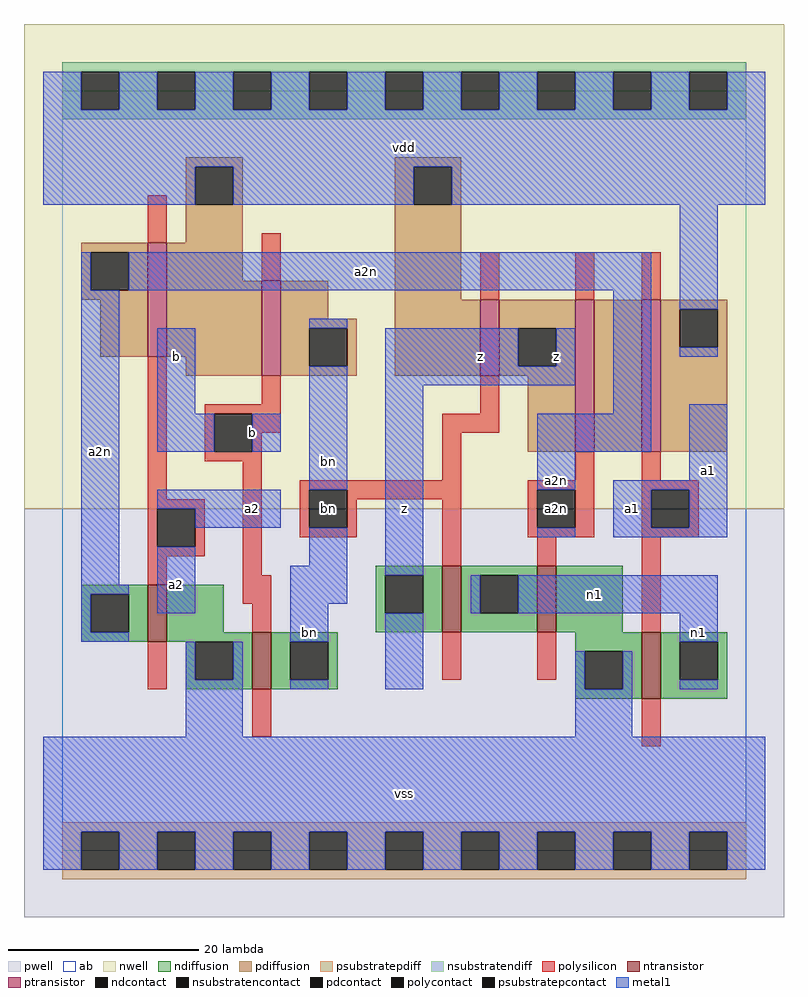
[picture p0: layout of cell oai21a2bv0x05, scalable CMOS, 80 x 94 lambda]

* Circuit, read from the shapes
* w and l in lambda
.subckt oai21a2bv0x05 a1 a2 a2n b bn n1 vdd vss z
M1 vss a2 a2n vss nfet w=6 l=2
M2 bn b vss vss nfet w=6 l=2
M3 n1 bn z vss nfet w=7 l=2
M4 vss a2n n1 vss nfet w=7 l=2
M5 n1 a1 vss vss nfet w=7 l=2
M6 vdd a2 a2n vdd pfet w=12 l=2
M7 bn b vdd vdd pfet w=10 l=2
M8 z bn vdd vdd pfet w=8 l=2
M9 n2 a2n z vdd pfet w=16 l=2
M10 vdd a1 n2 vdd pfet w=16 l=2
.ends

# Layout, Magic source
magic
tech scmos
<< ab >>
rect 0 0 72 80
<< pwell >>
rect -4 -7 76 36
<< nwell >>
rect -4 36 76 87
<< polysilicon >>
rect 9 64 11 69
rect 21 60 23 65
rect 9 37 11 52
rect 44 58 46 63
rect 54 58 56 63
rect 61 58 63 63
rect 21 47 23 50
rect 15 46 23 47
rect 44 46 46 50
rect 15 42 16 46
rect 20 44 23 46
rect 40 44 46 46
rect 20 42 21 44
rect 15 41 21 42
rect 9 36 15 37
rect 9 32 10 36
rect 14 32 15 36
rect 9 31 15 32
rect 9 28 11 31
rect 19 29 21 41
rect 40 39 42 44
rect 54 39 56 42
rect 25 38 42 39
rect 25 34 26 38
rect 30 37 42 38
rect 30 34 31 37
rect 25 33 31 34
rect 40 30 42 37
rect 49 38 56 39
rect 49 34 50 38
rect 54 34 56 38
rect 49 33 56 34
rect 61 39 63 42
rect 61 38 67 39
rect 61 34 62 38
rect 66 34 67 38
rect 61 33 67 34
rect 50 30 52 33
rect 19 26 22 29
rect 20 23 22 26
rect 61 23 63 33
rect 9 17 11 22
rect 40 18 42 23
rect 50 18 52 23
rect 20 12 22 17
rect 61 11 63 16
<< ndiffusion >>
rect 33 29 40 30
rect 2 27 9 28
rect 2 23 3 27
rect 7 23 9 27
rect 2 22 9 23
rect 11 23 17 28
rect 33 25 34 29
rect 38 25 40 29
rect 33 23 40 25
rect 42 29 50 30
rect 42 25 44 29
rect 48 25 50 29
rect 42 23 50 25
rect 52 23 59 30
rect 11 22 20 23
rect 13 18 14 22
rect 18 18 20 22
rect 13 17 20 18
rect 22 22 29 23
rect 22 18 24 22
rect 28 18 29 22
rect 54 21 61 23
rect 22 17 29 18
rect 54 17 55 21
rect 59 17 61 21
rect 54 16 61 17
rect 63 22 70 23
rect 63 18 65 22
rect 69 18 70 22
rect 63 16 70 18
<< pdiffusion >>
rect 13 72 19 73
rect 13 68 14 72
rect 18 68 19 72
rect 13 64 19 68
rect 35 72 42 73
rect 35 68 37 72
rect 41 68 42 72
rect 2 63 9 64
rect 2 59 3 63
rect 7 59 9 63
rect 2 58 9 59
rect 4 52 9 58
rect 11 60 19 64
rect 11 52 21 60
rect 13 50 21 52
rect 23 56 28 60
rect 35 58 42 68
rect 23 55 31 56
rect 23 51 26 55
rect 30 51 31 55
rect 23 50 31 51
rect 35 50 44 58
rect 46 55 54 58
rect 46 51 48 55
rect 52 51 54 55
rect 46 50 54 51
rect 49 42 54 50
rect 56 42 61 58
rect 63 57 70 58
rect 63 53 65 57
rect 69 53 70 57
rect 63 42 70 53
<< metal1 >>
rect -2 78 2 82
rect 6 78 10 82
rect 14 78 18 82
rect 22 78 26 82
rect 30 78 34 82
rect 38 78 42 82
rect 46 78 50 82
rect 54 78 58 82
rect 62 78 66 82
rect 70 78 74 82
rect -2 72 74 78
rect -2 68 14 72
rect 18 68 37 72
rect 41 68 74 72
rect 2 59 3 63
rect 7 59 62 63
rect 2 28 6 59
rect 26 55 30 56
rect 10 46 14 55
rect 10 42 16 46
rect 20 42 23 46
rect 26 38 30 51
rect 10 36 23 38
rect 14 34 23 36
rect 2 27 7 28
rect 2 23 3 27
rect 10 25 14 32
rect 26 30 30 34
rect 24 26 30 30
rect 34 51 48 55
rect 52 51 54 55
rect 34 49 54 51
rect 34 29 38 49
rect 58 46 62 59
rect 65 57 69 68
rect 65 52 69 53
rect 50 42 62 46
rect 50 38 54 42
rect 66 39 70 47
rect 50 33 54 34
rect 58 38 70 39
rect 58 34 62 38
rect 66 34 70 38
rect 58 33 70 34
rect 2 22 7 23
rect 24 22 28 26
rect 13 18 14 22
rect 18 18 19 22
rect 13 12 19 18
rect 24 17 28 18
rect 43 25 44 29
rect 48 25 69 29
rect 34 17 38 25
rect 65 22 69 25
rect 54 17 55 21
rect 59 17 60 21
rect 65 17 69 18
rect 54 12 60 17
rect -2 2 74 12
rect -2 -2 2 2
rect 6 -2 10 2
rect 14 -2 18 2
rect 22 -2 26 2
rect 30 -2 34 2
rect 38 -2 42 2
rect 46 -2 50 2
rect 54 -2 58 2
rect 62 -2 66 2
rect 70 -2 74 2
<< ntransistor >>
rect 9 22 11 28
rect 40 23 42 30
rect 50 23 52 30
rect 20 17 22 23
rect 61 16 63 23
<< ptransistor >>
rect 9 52 11 64
rect 21 50 23 60
rect 44 50 46 58
rect 54 42 56 58
rect 61 42 63 58
<< polycontact >>
rect 16 42 20 46
rect 10 32 14 36
rect 26 34 30 38
rect 50 34 54 38
rect 62 34 66 38
<< ndcontact >>
rect 3 23 7 27
rect 34 25 38 29
rect 44 25 48 29
rect 14 18 18 22
rect 24 18 28 22
rect 55 17 59 21
rect 65 18 69 22
<< pdcontact >>
rect 14 68 18 72
rect 37 68 41 72
rect 3 59 7 63
rect 26 51 30 55
rect 48 51 52 55
rect 65 53 69 57
<< psubstratepcontact >>
rect 2 -2 6 2
rect 10 -2 14 2
rect 18 -2 22 2
rect 26 -2 30 2
rect 34 -2 38 2
rect 42 -2 46 2
rect 50 -2 54 2
rect 58 -2 62 2
rect 66 -2 70 2
<< nsubstratencontact >>
rect 2 78 6 82
rect 10 78 14 82
rect 18 78 22 82
rect 26 78 30 82
rect 34 78 38 82
rect 42 78 46 82
rect 50 78 54 82
rect 58 78 62 82
rect 66 78 70 82
<< psubstratepdiff >>
rect 0 2 72 3
rect 0 -2 2 2
rect 6 -2 10 2
rect 14 -2 18 2
rect 22 -2 26 2
rect 30 -2 34 2
rect 38 -2 42 2
rect 46 -2 50 2
rect 54 -2 58 2
rect 62 -2 66 2
rect 70 -2 72 2
rect 0 -3 72 -2
<< nsubstratendiff >>
rect 0 82 72 83
rect 0 78 2 82
rect 6 78 10 82
rect 14 78 18 82
rect 22 78 26 82
rect 30 78 34 82
rect 38 78 42 82
rect 46 78 50 82
rect 54 78 58 82
rect 62 78 66 82
rect 70 78 72 82
rect 0 77 72 78
<< labels >>
rlabel polycontact 28 36 28 36 6 bn
rlabel polycontact 52 36 52 36 6 a2n
rlabel metal1 4 42 4 42 6 a2n
rlabel metal1 12 28 12 28 6 a2
rlabel metal1 20 44 20 44 6 b
rlabel metal1 20 36 20 36 6 a2
rlabel metal1 12 52 12 52 6 b
rlabel metal1 36 6 36 6 6 vss
rlabel metal1 26 23 26 23 6 bn
rlabel metal1 36 36 36 36 6 z
rlabel metal1 28 41 28 41 6 bn
rlabel metal1 36 74 36 74 6 vdd
rlabel metal1 52 39 52 39 6 a2n
rlabel metal1 52 52 52 52 6 z
rlabel metal1 44 52 44 52 6 z
rlabel metal1 56 27 56 27 6 n1
rlabel metal1 67 23 67 23 6 n1
rlabel metal1 60 36 60 36 6 a1
rlabel metal1 68 40 68 40 6 a1
rlabel metal1 32 61 32 61 6 a2n
<< end >>
